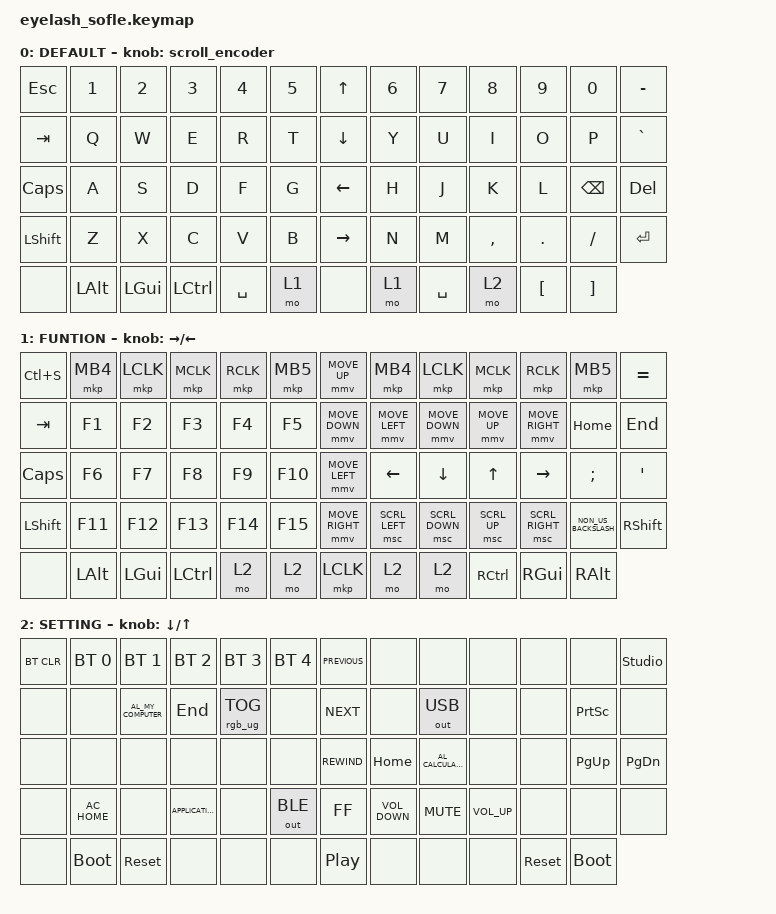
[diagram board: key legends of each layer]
#define ZMK_POINTING_DEFAULT_MOVE_VAL 1200  // 600
#define ZMK_POINTING_DEFAULT_SCRL_VAL 25   // 10

#include <input/processors.dtsi>
#include <zephyr/dt-bindings/input/input-event-codes.h>
#include <behaviors.dtsi>
#include <dt-bindings/zmk/bt.h>
#include <dt-bindings/zmk/keys.h>
#include <dt-bindings/zmk/outputs.h>
#include <dt-bindings/zmk/pointing.h>
#include <dt-bindings/zmk/rgb.h>

&mmv_input_listener { input-processors = <&zip_xy_scaler 2 1>; };

&msc_input_listener { input-processors = <&zip_scroll_scaler 2 1>; };

&msc {
    acceleration-exponent = <1>;      // 0
    time-to-max-speed-ms = <100>;       // 300
    delay-ms = <0>;                   // 0
};

&mmv {
    time-to-max-speed-ms = <500>;
    acceleration-exponent = <1>;
    trigger-period-ms = <16>;
};

/ {
    scroll_encoder: scroll_encoder {
        compatible = "zmk,behavior-sensor-rotate";
        #sensor-binding-cells = <0>;
        bindings = <&msc SCRL_DOWN>, <&msc SCRL_UP>;

        tap-ms = <100>;
    };

    ctrl_cap_rgb: ctrl_cap_rgb {
        compatible = "zmk,behavior-tap-dance";
        label = "CTRL_CAP_RGB";
        #binding-cells = <0>;
        bindings = <&kp LCTRL>, <&CAP_RGB>;
    };

    ctrl_caps: ctrl_caps {
        compatible = "zmk,behavior-tap-dance";
        label = "CTRL_CAPS";
        #binding-cells = <0>;
        bindings = <&kp LCTRL>, <&kp CAPS>;
    };

    combos { compatible = "zmk,combos"; };

    behaviors {
    };

    macros {
        CAP_RGB: new_macro {
            compatible = "zmk,behavior-macro";
            #binding-cells = <0>;
            bindings = <&kp CLCK &rgb_ug RGB_TOG>;
            label = "NEW_MACRO";
        };
    };

    keymap {
        compatible = "zmk,keymap";

        DEFAULT {
            bindings = <
&kp ESCAPE      &kp N1    &kp N2        &kp N3     &kp N4     &kp N5    &kp UP          &kp N6  &kp N7     &kp N8     &kp N9            &kp N0             &kp MINUS
&kp TAB         &kp Q     &kp W         &kp E      &kp R      &kp T     &kp DOWN_ARROW  &kp Y   &kp U      &kp I      &kp O             &kp P              &kp GRAVE
&kp CAPS        &kp A     &kp S         &kp D      &kp F      &kp G     &kp LEFT        &kp H   &kp J      &kp K      &kp L             &kp BACKSPACE      &kp DELETE
&kp LEFT_SHIFT  &kp Z     &kp X         &kp C      &kp V      &kp B     &kp RIGHT       &kp N   &kp M      &kp COMMA  &kp DOT           &kp FSLH           &kp ENTER
&none           &kp LALT  &kp LEFT_GUI  &kp LCTRL  &kp SPACE  &mo 1     &none           &mo 1   &kp SPACE  &mo 2      &kp LEFT_BRACKET  &kp RIGHT_BRACKET
            >;

            sensor-bindings = <&scroll_encoder>;
            label = "DEFAULT";
        };

        FUNTION {
            bindings = <
&kp LC(S)       &mkp MB4      &mkp LCLK     &mkp MCLK  &mkp RCLK  &mkp MB5    &mmv MOVE_UP     &mkp MB4        &mkp LCLK       &mkp MCLK     &mkp RCLK        &mkp MB5              &kp EQUAL
&kp TAB         &kp F1        &kp F2        &kp F3     &kp F4     &kp F5      &mmv MOVE_DOWN   &mmv MOVE_LEFT  &mmv MOVE_DOWN  &mmv MOVE_UP  &mmv MOVE_RIGHT  &kp HOME              &kp END
&kp CAPS        &kp F6        &kp F7        &kp F8     &kp F9     &kp F10     &mmv MOVE_LEFT   &kp LEFT        &kp DOWN_ARROW  &kp UP_ARROW  &kp RIGHT        &kp SEMICOLON         &kp SQT
&kp LEFT_SHIFT  &kp F11       &kp F12       &kp F13    &kp F14    &kp F15     &mmv MOVE_RIGHT  &msc SCRL_LEFT  &msc SCRL_DOWN  &msc SCRL_UP  &msc SCRL_RIGHT  &kp NON_US_BACKSLASH  &kp RIGHT_SHIFT
&none           &kp LEFT_ALT  &kp LEFT_GUI  &kp LCTRL  &mo 2      &mo 2       &mkp LCLK        &mo 2           &mo 2           &kp RCTRL     &kp RIGHT_GUI    &kp RIGHT_ALT
            >;

            display-name = "FUNTION";
            sensor-bindings = <&inc_dec_kp RIGHT LEFT>;
        };

        SETTING {
            bindings = <
&bt BT_CLR  &bt BT_SEL 0   &bt BT_SEL 1          &bt BT_SEL 2       &bt BT_SEL 3     &bt BT_SEL 4    &kp C_PREVIOUS    &none              &none                &none            &none       &none            &studio_unlock
&none       &none          &kp C_AL_MY_COMPUTER  &kp END            &rgb_ug RGB_TOG  &none           &kp C_NEXT        &none              &out OUT_USB         &none            &none       &kp PRINTSCREEN  &none
&none       &none          &none                 &none              &none            &none           &kp C_REWIND      &kp HOME           &kp C_AL_CALCULATOR  &none            &none       &kp PAGE_UP      &kp PAGE_DOWN
&none       &kp C_AC_HOME  &none                 &kp K_APPLICATION  &none            &out OUT_BLE    &kp C_FF          &kp C_VOLUME_DOWN  &kp C_MUTE           &kp C_VOLUME_UP  &none       &none            &none
&none       &bootloader    &sys_reset            &none              &none            &none           &kp C_PLAY_PAUSE  &none              &none                &none            &sys_reset  &bootloader
            >;

            label = "SETTING";
            sensor-bindings = <&inc_dec_kp DOWN UP>;
        };
    };
};
